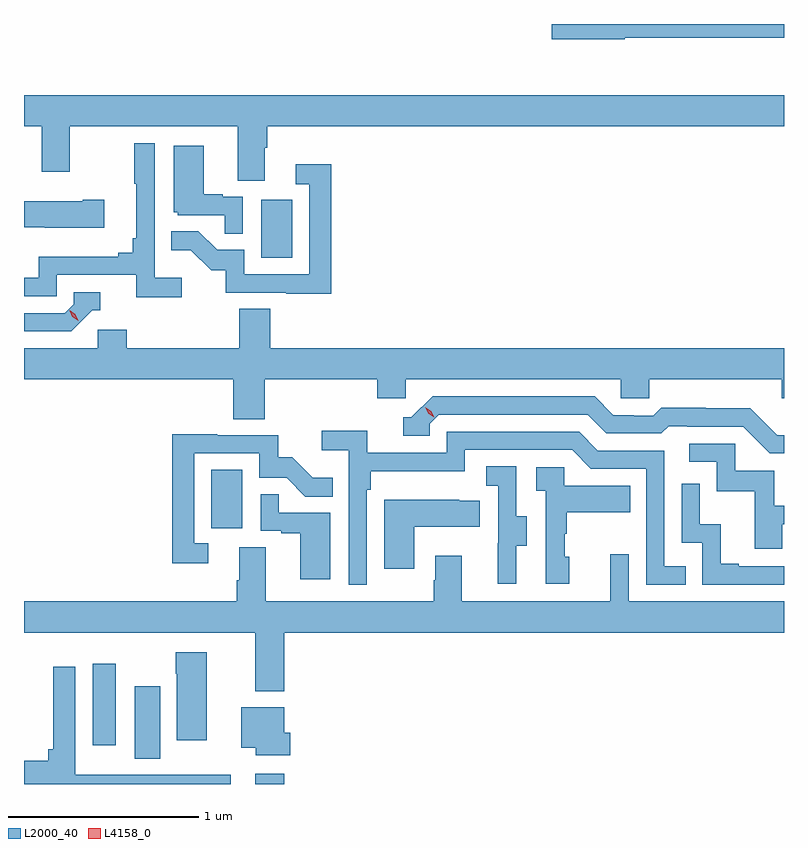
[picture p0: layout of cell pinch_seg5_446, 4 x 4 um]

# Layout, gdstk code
import gdstk
lib = gdstk.Library(unit=1e-6, precision=1e-09)
def R(c, l, rs):  # rectangles x0, y0, x1, y1
    for r in rs: c.add(gdstk.rectangle(r[:2], r[2:], *l))
def P(c, l, *ps):  # polygons
    for p in ps: c.add(gdstk.Polygon(p, *l))
L2000_40 = (2000, 40)
L4158_0 = (4158, 0)

pinch_seg5_446 = lib.new_cell('pinch_seg5_446')
R(pinch_seg5_446, L2000_40, [(890.603,871.947,890.756,872.002), (889.97,872.08,890.104,872.461), (889.748,872.151,889.87,872.581), (890.372,873.294,890.536,873.601), (890.636,874.716,890.8,875.023)])
P(pinch_seg5_446, L2000_40, [(892.548,875.874),(893.387,875.874),(893.387,875.947),(892.164,875.947),(892.164,875.866),(892.548,875.866)],
  [(890.653,875.296),(890.666,875.296),(890.666,875.408),(893.387,875.408),(893.387,875.572),(889.387,875.572),(889.387,875.408),(889.481,875.408),(889.481,875.169),(889.629,875.169),(889.629,875.408),(890.513,875.408),(890.513,875.122),(890.653,875.122)],
  [(890.218,874.612),(890.076,874.612),(890.076,875.32),(889.968,875.32),(889.968,875.107),(889.979,875.107),(889.979,874.819),(889.96,874.819),(889.96,874.742),(889.883,874.742),(889.883,874.723),(889.464,874.723),(889.464,874.611),(889.387,874.611),(889.387,874.515),(889.56,874.515),(889.56,874.626),(889.979,874.626),(889.979,874.51),(890.218,874.51)],
  [(890.538,875.037),(890.432,875.037),(890.432,875.05),(890.332,875.05),(890.332,875.305),(890.174,875.305),(890.174,874.956),(890.196,874.956),(890.196,874.941),(890.443,874.941),(890.443,874.843),(890.538,874.843)],
  [(891.005,875.209),(890.817,875.209),(890.817,875.103),(890.889,875.103),(890.889,874.629),(890.547,874.629),(890.547,874.758),(890.403,874.758),(890.305,874.856),(890.161,874.856),(890.161,874.757),(890.265,874.757),(890.372,874.65),(890.449,874.65),(890.449,874.533),(890.767,874.533),(890.767,874.528),(891.005,874.528)],
  [(889.81,875.022),(889.697,875.022),(889.697,875.014),(889.387,875.014),(889.387,874.877),(889.495,874.877),(889.495,874.874),(889.81,874.874)],
  [(889.746,874.44),(889.789,874.44),(889.789,874.536),(889.65,874.536),(889.65,874.473),(889.602,874.425),(889.387,874.425),(889.387,874.329),(889.635,874.329)],
  [(890.654,874.076),(891.245,874.076),(891.245,873.978),(891.396,873.978),(891.396,874.076),(892.527,874.076),(892.527,873.978),(892.677,873.978),(892.677,874.076),(893.375,874.076),(893.375,873.978),(893.387,873.978),(893.387,874.24),(890.684,874.24),(890.684,874.448),(890.519,874.448),(890.519,874.24),(889.928,874.24),(889.928,874.338),(889.776,874.338),(889.776,874.24),(889.387,874.24),(889.387,874.076),(890.489,874.076),(890.489,873.868),(890.654,873.868)],
  [(893.387,873.783),(893.352,873.783),(893.21,873.925),(892.974,873.925),(892.974,873.928),(892.741,873.928),(892.699,873.885),(892.596,873.885),(892.596,873.888),(892.489,873.888),(892.39,873.987),(891.537,873.987),(891.426,873.876),(891.383,873.876),(891.383,873.78),(891.522,873.78),(891.522,873.843),(891.57,873.891),(892.353,873.891),(892.452,873.792),(892.741,873.792),(892.78,873.831),(892.879,873.831),(892.879,873.828),(893.172,873.828),(893.313,873.687),(893.387,873.687)],
  [(891.192,873.497),(891.212,873.497),(891.212,873.593),(891.708,873.593),(891.708,873.705),(892.272,873.705),(892.371,873.606),(892.662,873.606),(892.662,872.997),(892.871,872.997),(892.871,873.093),(892.758,873.093),(892.758,873.702),(892.408,873.702),(892.309,873.801),(891.612,873.801),(891.612,873.69),(891.194,873.69),(891.194,873.806),(890.955,873.806),(890.955,873.704),(891.096,873.704),(891.096,872.997),(891.192,872.997)],
  [(890.356,873.213),(890.283,873.213),(890.283,873.687),(890.625,873.687),(890.625,873.558),(890.769,873.558),(890.867,873.46),(891.011,873.46),(891.011,873.559),(890.907,873.559),(890.8,873.666),(890.724,873.666),(890.724,873.783),(890.405,873.783),(890.405,873.788),(890.167,873.788),(890.167,873.108),(890.356,873.108)],
  [(893.377,873.315),(893.387,873.315),(893.387,873.411),(893.335,873.411),(893.335,873.597),(893.13,873.597),(893.13,873.738),(892.887,873.738),(892.887,873.642),(893.034,873.642),(893.034,873.489),(893.233,873.489),(893.233,873.186),(893.377,873.186)],
  [(891.979,873.202),(892.033,873.202),(892.033,873.357),(891.978,873.357),(891.978,873.62),(891.819,873.62),(891.819,873.517),(891.882,873.517),(891.882,873.213),(891.881,873.213),(891.881,873),(891.979,873)],
  [(892.258,873.144),(892.233,873.144),(892.233,873.263),(892.243,873.263),(892.243,873.377),(892.577,873.377),(892.577,873.517),(892.23,873.517),(892.23,873.615),(892.083,873.615),(892.083,873.491),(892.134,873.491),(892.134,873),(892.258,873)],
  [(893.387,873.093),(893.149,873.093),(893.149,873.106),(893.054,873.106),(893.054,873.314),(892.944,873.314),(892.944,873.526),(892.848,873.526),(892.848,873.216),(892.956,873.216),(892.956,872.997),(893.387,872.997)],
  [(890.998,873.375),(890.729,873.375),(890.729,873.473),(890.634,873.473),(890.634,873.279),(890.741,873.279),(890.741,873.267),(890.84,873.267),(890.84,873.024),(890.998,873.024)],
  [(891.442,873.302),(891.785,873.302),(891.785,873.439),(891.677,873.439),(891.677,873.442),(891.284,873.442),(891.284,873.081),(891.442,873.081)],
  [(890.756,872.744),(893.387,872.744),(893.387,872.908),(892.569,872.908),(892.569,873.157),(892.472,873.157),(892.472,872.908),(891.691,872.908),(891.691,873.148),(891.551,873.148),(891.551,873.02),(891.544,873.02),(891.544,872.908),(890.659,872.908),(890.659,873.194),(890.519,873.194),(890.519,873.02),(890.507,873.02),(890.507,872.908),(889.387,872.908),(889.387,872.744),(890.603,872.744),(890.603,872.435),(890.756,872.435)],
  [(890.35,872.641),(890.185,872.641),(890.185,872.528),(890.192,872.528),(890.192,872.178),(890.35,872.178)],
  [(890.476,871.997),(890.2,871.997),(890.2,871.995),(889.866,871.995),(889.866,871.996),(889.656,871.996),(889.656,872.563),(889.54,872.563),(889.54,872.131),(889.514,872.131),(889.514,872.069),(889.387,872.069),(889.387,871.947),(890.476,871.947)],
  [(890.789,872.217),(890.758,872.217),(890.758,872.35),(890.531,872.35),(890.531,872.138),(890.606,872.138),(890.606,872.099),(890.789,872.099)])
P(pinch_seg5_446, L4158_0, [(889.672,874.386),(889.642,874.406),(889.627,874.439),(889.627,874.44),(889.627,874.44),(889.657,874.419),(889.672,874.386),(889.672,874.386)],
  [(891.547,873.878),(891.516,873.897),(891.499,873.929),(891.499,873.929),(891.499,873.929),(891.53,873.91),(891.547,873.878),(891.547,873.878)])

lib.write_gds('pinch_seg5_446.gds')
